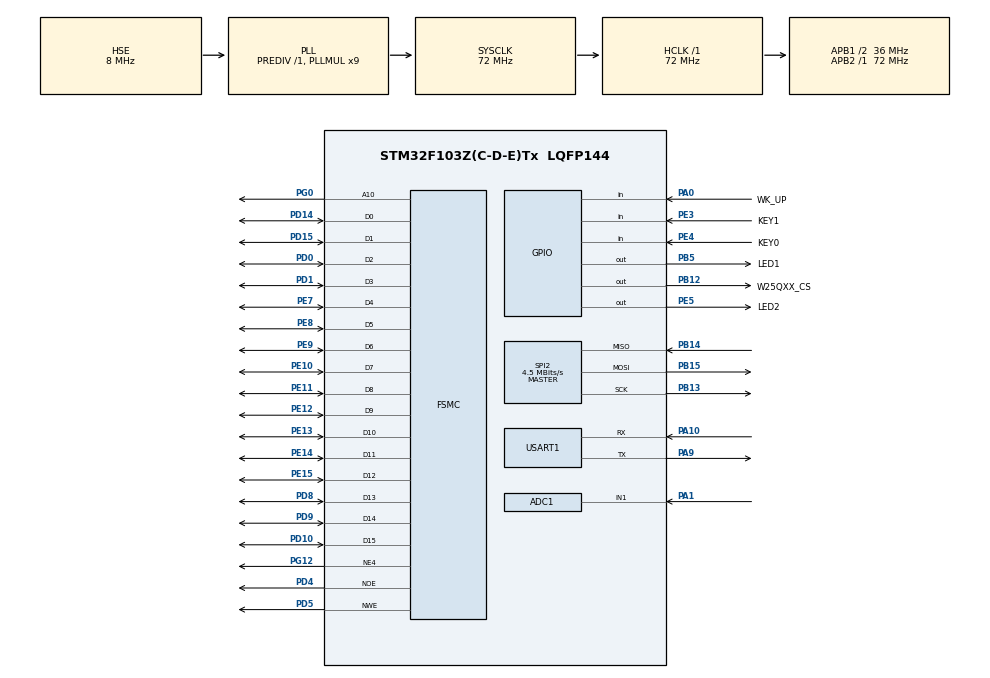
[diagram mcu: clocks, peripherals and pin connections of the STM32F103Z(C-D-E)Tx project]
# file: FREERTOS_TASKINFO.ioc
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ADC1.Channel-1\#ChannelRegularConversion=ADC_CHANNEL_1
ADC1.NbrOfConversionFlag=1
ADC1.Rank-1\#ChannelRegularConversion=1
ADC1.SamplingTime-1\#ChannelRegularConversion=ADC_SAMPLETIME_1CYCLE_5
ADC1.master=1
FREERTOS.INCLUDE_xEventGroupSetBitFromISR=1
FREERTOS.INCLUDE_xTaskAbortDelay=1
FREERTOS.INCLUDE_xTaskGetCurrentTaskHandle=1
FREERTOS.INCLUDE_xTaskGetHandle=1
FREERTOS.Tasks01=Task_ADC,24,256,AppTask_ADC,Default,NULL,Dynamic,NULL,NULL;Task_Info,8,256,AppTask_Info,Default,NULL,Dynamic,NULL,NULL
FSMC.AddressSetupTime4=6
FSMC.BusTurnAroundDuration4=0
FSMC.DataSetupTime4=26
FSMC.ExtendedAddressSetupTime4=3
FSMC.ExtendedBusTurnAroundDuration4=0
FSMC.ExtendedDataSetupTime4=6
FSMC.ExtendedMode4=FSMC_EXTENDED_MODE_ENABLE
Mcu.Family=STM32F1
Mcu.Name=STM32F103Z(C-D-E)Tx
Mcu.Package=LQFP144
NVIC.PriorityGroup=NVIC_PRIORITYGROUP_4
NVIC.RTC_Alarm_IRQn=true\:5\:0\:false\:false\:true\:true\:true\:true\:true
NVIC.RTC_IRQn=true\:5\:0\:false\:false\:true\:true\:true\:true\:true
NVIC.TIM6_IRQn=true\:15\:0\:false\:false\:true\:false\:false\:true\:true
NVIC.TimeBase=TIM6_IRQn
NVIC.TimeBaseIP=TIM6
NVIC.USART1_IRQn=true\:5\:0\:false\:false\:true\:true\:true\:true\:true
OSC_IN.Mode=HSE-External-Oscillator
OSC_IN.Signal=RCC_OSC_IN
OSC_OUT.Mode=HSE-External-Oscillator
OSC_OUT.Signal=RCC_OSC_OUT
PA0-WKUP.GPIO_Label=WK_UP
PA0-WKUP.GPIO_PuPd=GPIO_PULLDOWN
PA0-WKUP.Signal=GPIO_Input
PA1.Signal=ADCx_IN1
PA10.Mode=Asynchronous
PA10.Signal=USART1_RX
PA13.Mode=Serial_Wire
PA13.Signal=SYS_JTMS-SWDIO
PA14.Mode=Serial_Wire
PA14.Signal=SYS_JTCK-SWCLK
PA9.Mode=Asynchronous
PA9.Signal=USART1_TX
PB12.GPIO_Label=W25QXX_CS
PB12.GPIO_PuPd=GPIO_PULLUP
PB12.GPIO_Speed=GPIO_SPEED_FREQ_HIGH
PB12.PinState=GPIO_PIN_SET
PB12.Signal=GPIO_Output
PB13.Mode=Full_Duplex_Master
PB13.Signal=SPI2_SCK
PB14.Mode=Full_Duplex_Master
PB14.Signal=SPI2_MISO
PB15.Mode=Full_Duplex_Master
PB15.Signal=SPI2_MOSI
PB5.GPIO_Label=LED1
PB5.GPIO_Speed=GPIO_SPEED_FREQ_HIGH
PB5.Signal=GPIO_Output
PC14-OSC32_IN.Mode=LSE-External-Oscillator
PC14-OSC32_IN.Signal=RCC_OSC32_IN
PC15-OSC32_OUT.Mode=LSE-External-Oscillator
PC15-OSC32_OUT.Signal=RCC_OSC32_OUT
PD0.Signal=FSMC_D2_DA2
PD1.Signal=FSMC_D3_DA3
PD10.Signal=FSMC_D15_DA15
PD14.Signal=FSMC_D0_DA0
PD15.Signal=FSMC_D1_DA1
PD4.Signal=FSMC_NOE
PD5.Signal=FSMC_NWE
PD8.Signal=FSMC_D13_DA13
PD9.Signal=FSMC_D14_DA14
PE10.Signal=FSMC_D7_DA7
PE11.Signal=FSMC_D8_DA8
PE12.Signal=FSMC_D9_DA9
PE13.Signal=FSMC_D10_DA10
PE14.Signal=FSMC_D11_DA11
PE15.Signal=FSMC_D12_DA12
PE3.GPIO_Label=KEY1
PE3.GPIO_PuPd=GPIO_PULLUP
PE3.Signal=GPIO_Input
PE4.GPIO_Label=KEY0
PE4.GPIO_PuPd=GPIO_PULLUP
PE4.Signal=GPIO_Input
PE5.GPIO_Label=LED2
PE5.GPIO_Speed=GPIO_SPEED_FREQ_HIGH
PE5.Signal=GPIO_Output
PE7.Signal=FSMC_D4_DA4
PE8.Signal=FSMC_D5_DA5
PE9.Signal=FSMC_D6_DA6
PG0.Signal=FSMC_A10
PG12.Mode=NorPsramChipSelect4_4
PG12.Signal=FSMC_NE4
ProjectManager.HeapSize=0x200
ProjectManager.StackSize=0x400
ProjectManager.TargetToolchain=STM32CubeIDE
RCC.AHBFreq_Value=72000000
RCC.APB1CLKDivider=RCC_HCLK_DIV2
RCC.APB1Freq_Value=36000000
RCC.APB1TimFreq_Value=72000000
RCC.APB2Freq_Value=72000000
RCC.APB2TimFreq_Value=72000000
RCC.HCLKFreq_Value=72000000
RCC.PLLMUL=RCC_PLL_MUL9
RCC.PLLSourceVirtual=RCC_PLLSOURCE_HSE
RCC.RTCClockSelection=RCC_RTCCLKSOURCE_LSE
RCC.SYSCLKFreq_VALUE=72000000
RCC.SYSCLKSource=RCC_SYSCLKSOURCE_PLLCLK
RCC.USBFreq_Value=72000000
RTC.AutoPrediv=RTC_AUTO_1_SECOND
RTC.Format=RTC_FORMAT_BIN
SH.ADCx_IN1.0=ADC1_IN1,IN1
SH.FSMC_A10.0=FSMC_A10,A10_4
SH.FSMC_D0_DA0.0=FSMC_D0,16b-d4
SH.FSMC_D10_DA10.0=FSMC_D10,16b-d4
SH.FSMC_D11_DA11.0=FSMC_D11,16b-d4
SH.FSMC_D12_DA12.0=FSMC_D12,16b-d4
SH.FSMC_D13_DA13.0=FSMC_D13,16b-d4
SH.FSMC_D14_DA14.0=FSMC_D14,16b-d4
SH.FSMC_D15_DA15.0=FSMC_D15,16b-d4
SH.FSMC_D1_DA1.0=FSMC_D1,16b-d4
SH.FSMC_D2_DA2.0=FSMC_D2,16b-d4
SH.FSMC_D3_DA3.0=FSMC_D3,16b-d4
SH.FSMC_D4_DA4.0=FSMC_D4,16b-d4
SH.FSMC_D5_DA5.0=FSMC_D5,16b-d4
SH.FSMC_D6_DA6.0=FSMC_D6,16b-d4
SH.FSMC_D7_DA7.0=FSMC_D7,16b-d4
SH.FSMC_D8_DA8.0=FSMC_D8,16b-d4
SH.FSMC_D9_DA9.0=FSMC_D9,16b-d4
SH.FSMC_NOE.0=FSMC_NOE,Lcd4
SH.FSMC_NWE.0=FSMC_NWE,Lcd4
SPI2.BaudRatePrescaler=SPI_BAUDRATEPRESCALER_8
SPI2.CLKPhase=SPI_PHASE_2EDGE
SPI2.CLKPolarity=SPI_POLARITY_HIGH
SPI2.CRCCalculation=SPI_CRCCALCULATION_DISABLE
SPI2.CalculateBaudRate=4.5 MBits/s
SPI2.Direction=SPI_DIRECTION_2LINES
SPI2.Mode=SPI_MODE_MASTER
SPI2.VirtualType=VM_MASTER
USART1.VirtualMode=VM_ASYNC
VP_FREERTOS_VS_CMSIS_V2.Mode=CMSIS_V2
VP_RTC_VS_RTC_Activate.Mode=RTC_Enabled
VP_SYS_VS_tim6.Mode=TIM6
board=custom

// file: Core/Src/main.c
/* USER CODE BEGIN Header */
/**
  ******************************************************************************
  * @file           : main.c
  * @brief          : Main program body
  ******************************************************************************
  * @attention
  *
  * Copyright (c) 2023 STMicroelectronics.
  * All rights reserved.
  *
  * This software is licensed under terms that can be found in the LICENSE file
  * in the root directory of this software component.
  * If no LICENSE file comes with this software, it is provided AS-IS.
  *
  ******************************************************************************
  */
/* USER CODE END Header */
#include "main.h"
#include "cmsis_os.h"
#include "adc.h"
#include "rtc.h"
#include "spi.h"
#include "usart.h"
#include "gpio.h"
#include "fsmc.h"

/* USER CODE BEGIN Includes */
#include "stdio.h"
#include "lcd.h"
#include "w25qxx.h"
#include <string.h>
/* USER CODE END Includes */

void SystemClock_Config(void);
void MX_FREERTOS_Init(void);

int main(void)
{
  /* USER CODE BEGIN 1 */
	int x = 0,FLASH_SIZE,id;
	u8 lcd_id[12],datatemp[20];						//存放LCD ID字符�???????????????
  /* USER CODE END 1 */

  /* MCU Configuration--------------------------------------------------------*/

  /* Reset of all peripherals, Initializes the Flash interface and the Systick. */
  HAL_Init();

  /* Configure the system clock */
  SystemClock_Config();

  /* Initialize all configured peripherals */
  MX_GPIO_Init();
  MX_USART1_UART_Init();
  MX_FSMC_Init();
  MX_SPI2_Init();
  MX_RTC_Init();
  MX_ADC1_Init();
  /* USER CODE BEGIN 2 */
	LCD_Init();
	POINT_COLOR=RED;     				//画笔颜色：红�???????????????
//	sprintf((char*)lcd_id,"LCD ID:%04X",lcddev.id);//将LCD ID打印到lcd_id数组�???????????????
	LCD_Clear(WHITE);
//	POINT_COLOR=RED;
//	LCD_ShowString(30,40,210,24,24,"WarShip STM32 ^_^");
//	//LCD_ShowString(30,70,200,16,16,"TFTLCD TEST");
//	LCD_ShowString(30,70,200,16,16,"ATOM@ALIENTEK");
//	LCD_ShowString(30,90,200,16,16,lcd_id);		//显示LCD ID
//	//LCD_ShowString(30,110,200,12,12,"2017/5/27");
//	//LCD_ShowString(30,110,200,16,16,"KEY1:Write KEY0:Read  WK_UP:ADD");	//显示提示信息
//	LCD_ShowString(30,110,200,12,12,"RTC TEST");

	////2.设置时间
	//rtc_set_time(2023, 7, 12, 18, 15, 0);
	RTC_TimeTypeDef nTime;
	RTC_DateTypeDef nData;
//	nTime.Hours = 18;
//	nTime.Minutes = 26;
//	nTime.Seconds = 0;
//	nData.Year = 23;
//	nData.Month = 7;
//	nData.Date = 12;
//	HAL_RTC_SetTime(&hrtc,&nTime,RTC_FORMAT_BIN);
//	HAL_RTC_SetDate(&hrtc, &nData, RTC_FORMAT_BIN);

	//rtc_get_time();
//	HAL_RTC_GetTime(&hrtc,&nTime,RTC_FORMAT_BIN);
//	HAL_RTC_GetDate(&hrtc, &nData, RTC_FORMAT_BIN);
//
//	sprintf((char*)datatemp,"%02d h,%02d m,%02d s",nTime.Hours,nTime.Minutes,nTime.Seconds);
//	//sprintf((char*)datatemp,"%02d h,%02d m,%02d s",calendar.hour,calendar.min,calendar.sec);
//	LCD_ShowString(30,150,200,12,12,datatemp);
//	memset(datatemp,'\0',sizeof(datatemp));
//	sprintf((char*)datatemp,"%04d y,%02d m,%02d d",nData.Year + 2000,nData.Month,nData.Date);
//	//sprintf((char*)datatemp,"%04d y,%02d m,%02d d",calendar.year,calendar.month,calendar.date);
//	LCD_ShowString(30,130,200,12,12,datatemp);
	//__HAL_RTC_ALARM_ENABLE_IT(&hrtc, RTC_IT_SEC);   /* 允许秒中�?????? */

	////4.闹钟
//	if(calendar.sec < 50)
//	{
//		calendar.sec += 10;
//	}
//	else
//	{
//		calendar.min += 1;
//		calendar.sec = 0;
//	}

//	RTC_AlarmTypeDef aTime;
//
//	aTime.Alarm = 0;
//	aTime.AlarmTime.Hours = nTime.Hours;
//	aTime.AlarmTime.Minutes = nTime.Minutes;
//	if(calendar.sec < 50)
//	{
//		aTime.AlarmTime.Seconds = nTime.Seconds + 10;
//	}
//	else
//	{
//		aTime.AlarmTime.Minutes += 1;
//		aTime.AlarmTime.Seconds = 0;
//	}
	//HAL_RTC_SetAlarm_IT(&hrtc,&aTime,RTC_FORMAT_BIN);

	//rtc_set_alarm(calendar.year, calendar.month, calendar.date, calendar.hour, calendar.min, calendar.sec);

  /* USER CODE END 2 */

  /* Init scheduler */
  osKernelInitialize();  /* Call init function for freertos objects (in freertos.c) */
  MX_FREERTOS_Init();

  /* Start scheduler */
  osKernelStart();
  /* We should never get here as control is now taken by the scheduler */
  /* Infinite loop */
  /* USER CODE BEGIN WHILE */
	while (1)
	{
		////1.获取时间
//		rtc_get_time();
//		sprintf((char*)datatemp,"%04d y,%02d m,%02d d",calendar.year,calendar.month,calendar.date);
//		LCD_ShowString(30,130,200,12,12,datatemp);
//		memset(datatemp,'\0',sizeof(datatemp));
//		sprintf((char*)datatemp,"%02d h,%02d m,%02d s",calendar.hour,calendar.min,calendar.sec);
//		LCD_ShowString(30,150,200,12,12,datatemp);
		//printf("test\n\r");
		osDelay(500);
		HAL_GPIO_TogglePin(LED1_GPIO_Port,LED1_Pin);
    /* USER CODE END WHILE */

  }
}

void SystemClock_Config(void)
{
  RCC_OscInitTypeDef RCC_OscInitStruct = {0};
  RCC_ClkInitTypeDef RCC_ClkInitStruct = {0};
  RCC_PeriphCLKInitTypeDef PeriphClkInit = {0};

  /** Initializes the RCC Oscillators according to the specified parameters
  * in the RCC_OscInitTypeDef structure.
  */
  RCC_OscInitStruct.OscillatorType = RCC_OSCILLATORTYPE_HSE|RCC_OSCILLATORTYPE_LSE;
  RCC_OscInitStruct.HSEState = RCC_HSE_ON;
  RCC_OscInitStruct.HSEPredivValue = RCC_HSE_PREDIV_DIV1;
  RCC_OscInitStruct.LSEState = RCC_LSE_ON;
  RCC_OscInitStruct.HSIState = RCC_HSI_ON;
  RCC_OscInitStruct.PLL.PLLState = RCC_PLL_ON;
  RCC_OscInitStruct.PLL.PLLSource = RCC_PLLSOURCE_HSE;
  RCC_OscInitStruct.PLL.PLLMUL = RCC_PLL_MUL9;
  if (HAL_RCC_OscConfig(&RCC_OscInitStruct) != HAL_OK)
  {
    Error_Handler();
  }

  /** Initializes the CPU, AHB and APB buses clocks
  */
  RCC_ClkInitStruct.ClockType = RCC_CLOCKTYPE_HCLK|RCC_CLOCKTYPE_SYSCLK
                              |RCC_CLOCKTYPE_PCLK1|RCC_CLOCKTYPE_PCLK2;
  RCC_ClkInitStruct.SYSCLKSource = RCC_SYSCLKSOURCE_PLLCLK;
  RCC_ClkInitStruct.AHBCLKDivider = RCC_SYSCLK_DIV1;
  RCC_ClkInitStruct.APB1CLKDivider = RCC_HCLK_DIV2;
  RCC_ClkInitStruct.APB2CLKDivider = RCC_HCLK_DIV1;

  if (HAL_RCC_ClockConfig(&RCC_ClkInitStruct, FLASH_LATENCY_2) != HAL_OK)
  {
    Error_Handler();
  }
  PeriphClkInit.PeriphClockSelection = RCC_PERIPHCLK_RTC|RCC_PERIPHCLK_ADC;
  PeriphClkInit.RTCClockSelection = RCC_RTCCLKSOURCE_LSE;
  PeriphClkInit.AdcClockSelection = RCC_ADCPCLK2_DIV2;
  if (HAL_RCCEx_PeriphCLKConfig(&PeriphClkInit) != HAL_OK)
  {
    Error_Handler();
  }
}

/* USER CODE BEGIN 4 */

void delay_us(uint32_t udelay)
{
  uint32_t startval,tickn,delays,wait;

  startval = SysTick->VAL;
  tickn = HAL_GetTick();
  //sysc = 72000;  //SystemCoreClock / (1000U / uwTickFreq);
  delays =udelay * 72; //sysc / 1000 * udelay;
  if(delays > startval)
    {
      while(HAL_GetTick() == tickn)
        {

        }
      wait = 72000 + startval - delays;
      while(wait < SysTick->VAL)
        {

        }
    }
  else
    {
      wait = startval - delays;
      while(wait < SysTick->VAL && HAL_GetTick() == tickn)
        {

        }
    }
}

void delay_ms(uint32_t udelay)
{
	HAL_Delay(udelay);
	//osDelay(udelay);
}
/* USER CODE END 4 */

void HAL_TIM_PeriodElapsedCallback(TIM_HandleTypeDef *htim)
{
  if (htim->Instance == TIM6) {
    HAL_IncTick();
  }
}

void Error_Handler(void)
{
  __disable_irq();
  while (1)
  {
  }
}

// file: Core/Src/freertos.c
/* USER CODE BEGIN Header */
/**
  ******************************************************************************
  * File Name          : freertos.c
  * Description        : Code for freertos applications
  ******************************************************************************
  * @attention
  *
  * Copyright (c) 2023 STMicroelectronics.
  * All rights reserved.
  *
  * This software is licensed under terms that can be found in the LICENSE file
  * in the root directory of this software component.
  * If no LICENSE file comes with this software, it is provided AS-IS.
  *
  ******************************************************************************
  */
/* USER CODE END Header */

#include "FreeRTOS.h"
#include "task.h"
#include "main.h"
#include "cmsis_os.h"

/* USER CODE BEGIN Includes */
#include "lcd.h"
#include "adc.h"
/* USER CODE END Includes */

/* Definitions for Task_ADC */
osThreadId_t Task_ADCHandle;
const osThreadAttr_t Task_ADC_attributes = {
  .name = "Task_ADC",
  .stack_size = 256 * 4,
  .priority = (osPriority_t) osPriorityNormal,
};
/* Definitions for Task_Info */
osThreadId_t Task_InfoHandle;
const osThreadAttr_t Task_Info_attributes = {
  .name = "Task_Info",
  .stack_size = 256 * 4,
  .priority = (osPriority_t) osPriorityLow,
};

void AppTask_ADC(void *argument);
void AppTask_Info(void *argument);

void MX_FREERTOS_Init(void); /* (MISRA C 2004 rule 8.1) */

void MX_FREERTOS_Init(void) {

  /* Create the thread(s) */
  /* creation of Task_ADC */
  Task_ADCHandle = osThreadNew(AppTask_ADC, NULL, &Task_ADC_attributes);

  /* creation of Task_Info */
  Task_InfoHandle = osThreadNew(AppTask_Info, NULL, &Task_Info_attributes);

}

void AppTask_ADC(void *argument)
{
  /* USER CODE BEGIN AppTask_ADC */
	LCD_ShowString(30,0,300,12,12,"Task_ADC: ADC by polling");
	LCD_ShowString(30,15,300,12,12,"ADC Value(mA)=");

	TickType_t previousWakeTime=xTaskGetTickCount();	//获取�?嗒信号计数�??
  /* Infinite loop */
  for(;;)
  {
		HAL_ADC_Start(&hadc1);
		if (HAL_ADC_PollForConversion(&hadc1,100)==HAL_OK)   //轮询方式等待转换完成
		{
			uint32_t  val=HAL_ADC_GetValue(&hadc1);	//读取ADC转换原始数据
			uint32_t  Volt=3300*val;	//mV
			Volt=Volt>>12;				//除以2^12
			LCD_ShowNum(200,15,Volt,4,12);
			//LCD_ShowUint(ADCX,40+LCD_SP10,Volt);	//转换为mV显示
		}
		vTaskDelayUntil(&previousWakeTime, pdMS_TO_TICKS(500));
    //osDelay(1);
  }
  /* USER CODE END AppTask_ADC */
}

void AppTask_Info(void *argument)
{
  /* USER CODE BEGIN AppTask_Info */
	int hwm;

	//====获取单个任务的信�?=====
		//	TaskHandle_t taskHandle=xTaskGetCurrentTaskHandle();	//获取当前任务句柄
		//	TaskHandle_t taskHandle=xTaskGetIdleTaskHandle();		//获取空闲任务句柄
		//	TaskHandle_t taskHandle=xTaskGetHandle("Task_ADC");		//通过任务名称获取任务句柄
	TaskHandle_t taskHandle=Task_ADCHandle;		//直接使用任务句柄变量

	TaskStatus_t taskInfo;
	BaseType_t getFreeStackSpace=pdTRUE;  	//是否获取高水位�??,
	eTaskState taskState=eInvalid; 			//当前的状�?
	vTaskGetInfo(taskHandle, &taskInfo, getFreeStackSpace, taskState);	//获取任务信息

	taskENTER_CRITICAL();		//�?始临界代码段，不允许任务调度

	POINT_COLOR=RED;
	LCD_ShowString(30,30,300,12,12,"Task_Info: Show task info");
	LCD_ShowString(30,45,300,12,12,"Get by vTaskGetInfo() ");
	LCD_ShowString(30,60,300,12,12,"Task Name= ");
	LCD_ShowString(150,60,300,12,12,taskInfo.pcTaskName);
	LCD_ShowString(30,75,300,12,12,"Task Number=  ");
	LCD_ShowString(180,75,300,12,12,taskInfo.xTaskNumber);
	LCD_ShowString(30,90,300,12,12,"Task State= ");
	//LCD_ShowString(180,90,300,12,12,taskInfo.eCurrentState);
	LCD_ShowNum(180,90,taskInfo.eCurrentState,4,12);
	LCD_ShowString(30,105,300,12,12,"Task Priority= ");
	LCD_ShowString(180,105,300,12,12,taskInfo.uxCurrentPriority);
	LCD_ShowString(30,130,300,12,12,"High Water Mark= ");
	LCD_ShowNum(250,130,taskInfo.usStackHighWaterMark,4,12);

//		LcdFRONT_COLOR=lcdColor_WHITE;
//		LCD_ShowStr(10, 100, (uint8_t *)"Task_Info: Show task info");
//		LCD_ShowStr(20, LCD_CurY+LCD_SP10, (uint8_t *)"Get by vTaskGetInfo() ");
//		LCD_ShowStr(30, LCD_CurY+LCD_SP10, (uint8_t *)"Task Name= ");
//		LCD_ShowStr(LCD_CurX+10, LCD_CurY, (uint8_t *)taskInfo.pcTaskName);
//

//		LCD_ShowStr(30, LCD_CurY+LCD_SP10, (uint8_t *)"Task Number= ");
//		LCD_ShowUint(LCD_CurX+10, LCD_CurY, taskInfo.xTaskNumber);
//
//		LCD_ShowStr(30, LCD_CurY+LCD_SP10, (uint8_t *)"Task State= ");
//		LCD_ShowUint(LCD_CurX+10, LCD_CurY, taskInfo.eCurrentState);
//
//		LCD_ShowStr(30, LCD_CurY+LCD_SP10, (uint8_t *)"Task Priority= ");
//		LCD_ShowUint(LCD_CurX+10, LCD_CurY, taskInfo.uxCurrentPriority);
//
//		LCD_ShowStr(30, LCD_CurY+LCD_SP10, (uint8_t *)"High Water Mark= ");
//		LCD_ShowUint(LCD_CurX+10, LCD_CurY, taskInfo.usStackHighWaterMark);

	//======用函数uxTaskGetStackHighWaterMark()单独获取每个任务的高水位�?=====
	POINT_COLOR=YELLOW;
	LCD_ShowString(30,145,300,12,12,"High Water Mark of tasks");

	taskHandle=xTaskGetIdleTaskHandle();	//获取空闲任务句柄
	hwm=uxTaskGetStackHighWaterMark(taskHandle);
	LCD_ShowString(30,145,300,12,12,"Idle Task= ");
	LCD_ShowNum(200,145,hwm,4,12);
	taskHandle=Task_ADCHandle;				//Task_ADC的任务句�?
	hwm=uxTaskGetStackHighWaterMark(taskHandle);
	LCD_ShowString(30,160,300,12,12,"Task_ADC= ");
	LCD_ShowNum(200,160,hwm,4,12);
	taskHandle=Task_InfoHandle;				//Task_Info的任务句�?
	hwm=uxTaskGetStackHighWaterMark(taskHandle);
	LCD_ShowString(30,175,300,12,12,"Task_Info= ");
	LCD_ShowNum(200,175,hwm,4,12);
//		LcdFRONT_COLOR=lcdColor_YELLOW;
//		LCD_ShowStr(20, LCD_CurY+LCD_SP15, (uint8_t *)"High Water Mark of tasks");
//
//		taskHandle=xTaskGetIdleTaskHandle();	//获取空闲任务句柄
//		UBaseType_t  hwm=uxTaskGetStackHighWaterMark(taskHandle);
//		LCD_ShowStr(30, LCD_CurY+LCD_SP10, (uint8_t *)"Idle Task= ");
//		LCD_ShowUint(LCD_CurX+10, LCD_CurY, hwm);
//
//		taskHandle=Task_ADCHandle;				//Task_ADC的任务句�?
//		hwm=uxTaskGetStackHighWaterMark(taskHandle);
//		LCD_ShowStr(30, LCD_CurY+LCD_SP10, (uint8_t *)"Task_ADC= ");
//		LCD_ShowUint(LCD_CurX+10, LCD_CurY, hwm);
//
//		taskHandle=Task_InfoHandle;				//Task_Info的任务句�?
//		hwm=uxTaskGetStackHighWaterMark(taskHandle);
//		LCD_ShowStr(30, LCD_CurY+LCD_SP10, (uint8_t *)"Task_Info= ");
//		LCD_ShowUint(LCD_CurX+10, LCD_CurY, hwm);

	//=======获取内核的信�?==========
	POINT_COLOR=GREEN;
	LCD_ShowString(30,190,300,12,12,"Kernel Info ");
	int taskNum=uxTaskGetNumberOfTasks();  //获取系统任务个数
	LCD_ShowString(30,205,300,12,12,"uxTaskGetNumberOfTasks()= ");
	LCD_ShowNum(30,230,taskNum,4,12);

//		LcdFRONT_COLOR=lcdColor_GREEN;
//		LCD_ShowStr(10, LCD_CurY+LCD_SP15, (uint8_t *)"Kernel Info ");
//
//		UBaseType_t  taskNum=uxTaskGetNumberOfTasks();  //获取系统任务个数
//		LCD_ShowStr(20, LCD_CurY+LCD_SP10, (uint8_t *)"uxTaskGetNumberOfTasks()= ");
//		LCD_ShowUint(LCD_CurX, LCD_CurY, taskNum);
//
//		uint16_t lastRow=LCD_CurY;
		taskEXIT_CRITICAL();		//结束临界代码段，重新允许任务调度

  /* Infinite loop */
	int loopCount=0;
	for(;;)
	{
		loopCount++;
		HAL_GPIO_TogglePin(LED1_GPIO_Port,LED1_Pin);
		vTaskDelay(pdMS_TO_TICKS(300));
		if(loopCount >= 10)
			break;
		//osDelay(1);
	}
	POINT_COLOR=RED;
	LCD_ShowString(30,230,300,12,12,"Task_Info is deleted");
	vTaskDelete(NULL);	//删除任务自己
  /* USER CODE END AppTask_Info */
}
